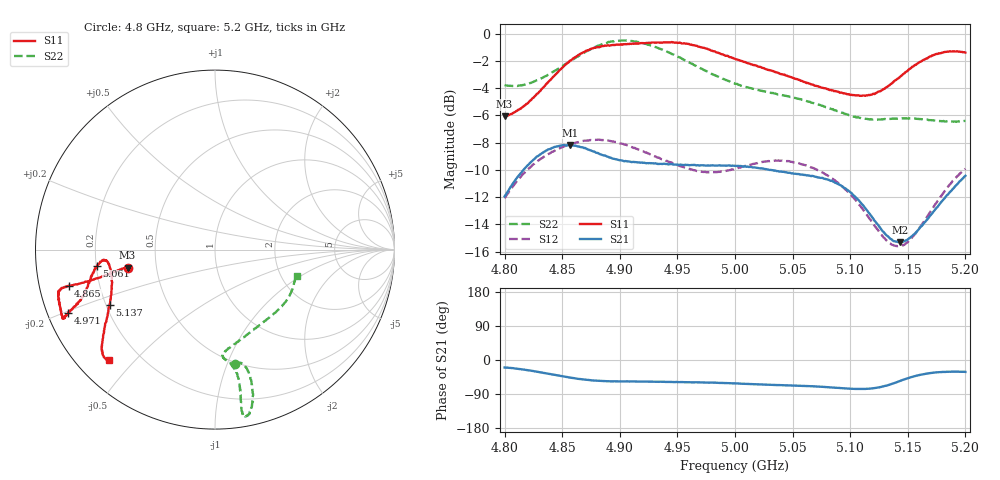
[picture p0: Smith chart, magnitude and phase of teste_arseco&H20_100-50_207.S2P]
! Network Analyzer HP8722D
! Hewlett-Packard
! Data name: Linha & Wilkinson
! Saver's name: Rodrigo Anjos
! Comments: Teste da utilização de aquisição
! continua pelo VNA HP8722D
! Time and date: 6/5/2025 14:17
!  Frequency  S11  S21  S12  S22
# HZ  S  MA R 50
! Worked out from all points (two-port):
!   401 points, 4.8 GHz to 5.2 GHz, reference 50 ohm
!   highest |S21| = -8.17 dB at 4.857 GHz (marker M1); lowest = -15.3 dB at 5.143 GHz (marker M2)
!   |S21| within 3 dB of the highest: 4.806 GHz to 5.093 GHz (286.7 MHz wide, 5.79 % of centre); 5.191505 GHz to end of sweep
!   lowest |S11| = -6.1 dB at 4.8 GHz (marker M3), VSWR 2.98, Z = 17 - j4.55 ohm
!   |S11| at or under -10 dB: nowhere
!   |S22| runs from -6.5 to -0.5 dB; largest |S21 - S12| = 0.62
!   S11 on the Smith chart (normalised r, x): 4.8 GHz: 0.34, -0.09; 4.865 GHz: 0.09, -0.12; 4.971 GHz: 0.06, -0.21; 5.061 GHz: 0.20, -0.07; 5.137 GHz: 0.21, -0.23; 5.2 GHz: 0.09, -0.42
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4.8e9  0.4971 -168.3  0.2529 -19.8  0.2488 -141.0  0.6478 -80.3
4.829e9  0.6044 -167.0  0.3553 -31.4  0.3417 -145.2  0.6774 -75.3
4.857e9  0.7973 -166.0  0.3904 -46.4  0.3929 -150.4  0.7929 -74.7
4.865e9  0.8401 -166.1  0.3847 -50.1  0.4008 -151.9  0.8328 -75.2
4.867e9  0.8484 -166.1  0.3832 -51.0  0.4028 -152.2  0.8423 -75.5
4.879e9  0.8882 -165.7  0.3665 -54.5  0.4076 -154.2  0.894 -76.7
4.901e9  0.9154 -162.4  0.3432 -56.4  0.3953 -156.8  0.9445 -79.3
4.934e9  0.9284 -156.7  0.3326 -57.6  0.351 -155.7  0.8835 -80.5
4.971e9  0.8907 -156.6  0.329 -59.4  0.3115 -146.5  0.7444 -79.6
5e9  0.809 -159.2  0.3272 -61.9  0.3196 -137.3  0.6552 -81.3
5.033e9  0.7287 -165.1  0.3156 -65.7  0.341 -134.5  0.606 -85.5
5.061e9  0.6638 -172.0  0.3031 -68.5  0.3294 -136.4  0.5692 -83.9
5.067e9  0.6504 -173.1  0.301 -69.2  0.3226 -136.8  0.5576 -82.7
5.087e9  0.6162 -174.6  0.2835 -73.2  0.289 -138.6  0.5239 -74.8
5.103e9  0.5956 -171.5  0.2548 -76.3  0.2497 -138.7  0.496 -65.1
5.117e9  0.5952 -164.9  0.218 -75.6  0.2089 -135.1  0.4847 -55.0
5.134e9  0.6463 -154.4  0.1782 -65.3  0.1704 -120.6  0.4866 -43.3
5.137e9  0.6622 -152.5  0.174 -62.2  0.1677 -116.8  0.4883 -41.5
5.143e9  0.693 -149.4  0.1714 -55.7  0.1661 -108.8  0.4879 -37.9
5.154e9  0.7573 -144.5  0.1811 -44.4  0.1796 -94.9  0.488 -32.3
5.173e9  0.8369 -139.0  0.2242 -33.3  0.2337 -80.8  0.4809 -24.2
5.2e9  0.8526 -133.7  0.301 -31.5  0.3196 -77.1  0.4787 -17.6
